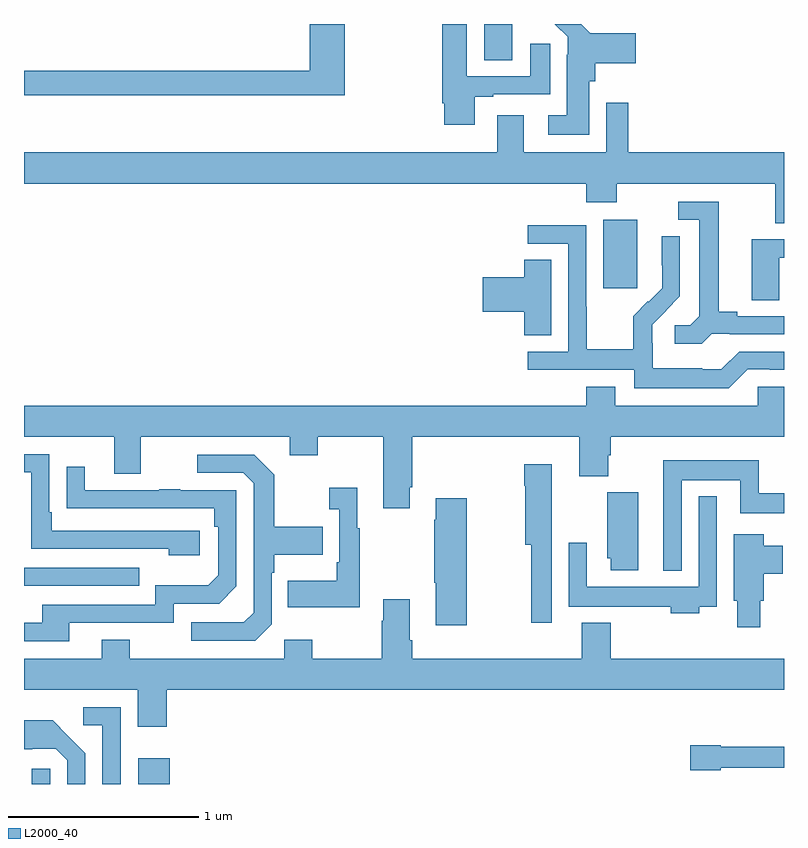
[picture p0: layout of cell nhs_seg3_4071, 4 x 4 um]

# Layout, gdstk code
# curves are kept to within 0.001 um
import gdstk
lib = gdstk.Library(unit=1e-6, precision=1e-09)
def R(c, l, rs):  # rectangles x0, y0, x1, y1
    for r in rs: c.add(gdstk.rectangle(r[:2], r[2:], *l))
def P(c, l, *ps):  # polygons
    for p in ps: c.add(gdstk.Polygon(p, *l))
L2000_40 = (2000, 40)

nhs_seg3_4071 = lib.new_cell('nhs_seg3_4071')
R(nhs_seg3_4071, L2000_40, [(325.041,720.4,325.137,720.481), (325.601,720.4,325.768,720.535), (325,721.443,325.607,721.539), (328.049,723.009,328.228,723.37), (327.422,724.21,327.571,724.4)])
P(nhs_seg3_4071, L2000_40, [(327.976,724.098),(328.007,724.098),(328.007,724.193),(328.219,724.193),(328.219,724.351),(327.981,724.351),(327.933,724.4),(327.793,724.4),(327.861,724.332),(327.861,724.238),(327.857,724.238),(327.857,723.919),(327.759,723.919),(327.759,723.818),(327.976,723.818)],
  [(327.373,724.017),(327.469,724.017),(327.469,724.029),(327.769,724.029),(327.769,724.297),(327.665,724.297),(327.665,724.125),(327.331,724.125),(327.331,724.4),(327.2,724.4),(327.2,723.982),(327.212,723.982),(327.212,723.87),(327.373,723.87)],
  [(326.687,724.4),(326.504,724.4),(326.504,724.154),(325,724.154),(325,724.026),(326.687,724.026)],
  [(329,723.724),(328.181,723.724),(328.181,723.985),(328.065,723.985),(328.065,723.724),(327.631,723.724),(327.631,723.919),(327.491,723.919),(327.491,723.724),(325,723.724),(325,723.56),(327.959,723.56),(327.959,723.461),(328.119,723.461),(328.119,723.56),(328.955,723.56),(328.955,723.352),(329,723.352)],
  [(328.62,722.769),(328.714,722.769),(328.714,722.766),(329,722.766),(329,722.862),(328.753,722.862),(328.753,722.885),(328.657,722.885),(328.657,723.465),(328.443,723.465),(328.443,723.369),(328.553,723.369),(328.553,722.861),(328.506,722.814),(328.425,722.814),(328.425,722.717),(328.568,722.717)],
  [(328.809,722.583),(328.925,722.583),(328.925,722.58),(329,722.58),(329,722.676),(328.764,722.676),(328.671,722.583),(328.571,722.583),(328.571,722.587),(328.308,722.587),(328.308,722.721),(328.306,722.721),(328.306,722.818),(328.452,722.966),(328.452,723.284),(328.356,723.284),(328.356,723.13),(328.358,723.13),(328.358,723.008),(328.287,722.937),(328.284,722.94),(328.207,722.863),(328.207,722.689),(327.963,722.689),(327.963,722.912),(327.96,722.912),(327.96,723.342),(327.651,723.342),(327.651,723.243),(327.864,723.243),(327.864,722.676),(327.651,722.676),(327.651,722.58),(328.212,722.58),(328.212,722.483),(328.709,722.483)],
  [(328.974,723.171),(329,723.171),(329,723.267),(328.829,723.267),(328.829,722.947),(328.974,722.947)],
  [(327.775,723.158),(327.632,723.158),(327.632,723.068),(327.414,723.068),(327.414,722.885),(327.632,722.885),(327.632,722.761),(327.775,722.761)],
  [(329,722.49),(328.863,722.49),(328.863,722.392),(328.111,722.392),(328.111,722.491),(327.959,722.491),(327.959,722.392),(325,722.392),(325,722.228),(325.475,722.228),(325.475,722.034),(325.615,722.034),(325.615,722.228),(326.399,722.228),(326.399,722.129),(326.547,722.129),(326.547,722.228),(326.891,722.228),(326.891,721.851),(327.031,721.851),(327.031,721.963),(327.044,721.963),(327.044,722.228),(327.923,722.228),(327.923,722.02),(328.075,722.02),(328.075,722.129),(328.088,722.129),(328.088,722.228),(329,722.228)],
  [(325.924,721.734),(325.147,721.734),(325.147,721.831),(325.134,721.831),(325.134,722.136),(325,722.136),(325,722.04),(325.038,722.04),(325.038,721.638),(325.763,721.638),(325.763,721.604),(325.924,721.604)],
  [(326.304,721.242),(326.304,721.511),(326.317,721.511),(326.317,721.607),(326.573,721.607),(326.573,721.755),(326.317,721.755),(326.317,722.027),(326.211,722.133),(325.911,722.133),(325.911,722.037),(326.154,722.037),(326.208,721.983),(326.208,721.302),(326.157,721.251),(325.881,721.251),(325.881,721.155),(326.217,721.155)],
  [(328.461,722),(328.77,722),(328.77,721.826),(329,721.826),(329,721.93),(328.868,721.93),(328.868,722.104),(328.364,722.104),(328.364,721.523),(328.461,721.523)],
  [(327.777,721.762),(327.778,721.762),(327.778,722.083),(327.632,722.083),(327.632,721.97),(327.637,721.97),(327.637,721.658),(327.669,721.658),(327.669,721.248),(327.777,721.248)],
  [(325.237,721.248),(325.788,721.248),(325.788,721.35),(326.028,721.35),(326.118,721.44),(326.118,721.947),(325.823,721.947),(325.823,721.952),(325.711,721.952),(325.711,721.947),(325.321,721.947),(325.321,722.071),(325.225,722.071),(325.225,721.852),(326.002,721.851),(326.002,721.754),(326.022,721.754),(326.022,721.5),(325.969,721.447),(325.692,721.447),(325.692,721.344),(325.097,721.344),(325.097,721.248),(325,721.248),(325,721.152),(325.237,721.152)],
  [(326.767,721.747),(326.755,721.747),(326.755,721.96),(326.607,721.96),(326.607,721.847),(326.658,721.847),(326.658,721.567),(326.646,721.567),(326.646,721.471),(326.389,721.471),(326.389,721.331),(326.767,721.331)],
  [(328.234,721.935),(328.07,721.935),(328.07,721.587),(328.088,721.587),(328.088,721.524),(328.234,721.524)],
  [(328.555,721.332),(328.647,721.332),(328.647,721.915),(328.551,721.915),(328.551,721.438),(327.963,721.438),(327.963,721.669),(327.867,721.669),(327.867,721.334),(328.171,721.334),(328.171,721.332),(328.403,721.332),(328.403,721.298),(328.555,721.298)],
  [(327.33,721.903),(327.167,721.903),(327.167,721.79),(327.16,721.79),(327.16,721.459),(327.167,721.459),(327.167,721.236),(327.33,721.236)],
  [(328.876,721.365),(328.894,721.365),(328.894,721.507),(328.993,721.507),(328.993,721.654),(328.894,721.654),(328.894,721.714),(328.736,721.714),(328.736,721.365),(328.754,721.365),(328.754,721.224),(328.876,721.224)],
  [(329,721.06),(328.088,721.06),(328.088,721.249),(327.935,721.249),(327.935,721.06),(327.044,721.06),(327.044,721.156),(327.031,721.156),(327.031,721.372),(326.891,721.372),(326.891,721.259),(326.884,721.259),(326.884,721.06),(326.517,721.06),(326.517,721.159),(326.37,721.159),(326.37,721.06),(325.557,721.06),(325.557,721.159),(325.409,721.159),(325.409,721.06),(325,721.06),(325,720.896),(325.598,720.896),(325.598,720.702),(325.751,720.702),(325.751,720.896),(329,720.896)],
  [(325.509,720.804),(325.311,720.804),(325.311,720.708),(325.413,720.708),(325.413,720.4),(325.509,720.4)],
  [(325.323,720.562),(325.231,720.655),(325.151,720.736),(325,720.736),(325,720.584),(325.044,720.584),(325.044,720.585),(325.167,720.585),(325.227,720.525),(325.227,720.4),(325.323,720.4)],
  [(328.668,720.486),(328.96,720.486),(328.96,720.485),(329,720.485),(329,720.595),(328.668,720.595),(328.668,720.603),(328.506,720.603),(328.506,720.473),(328.668,720.473)])

lib.write_gds('nhs_seg3_4071.gds')
